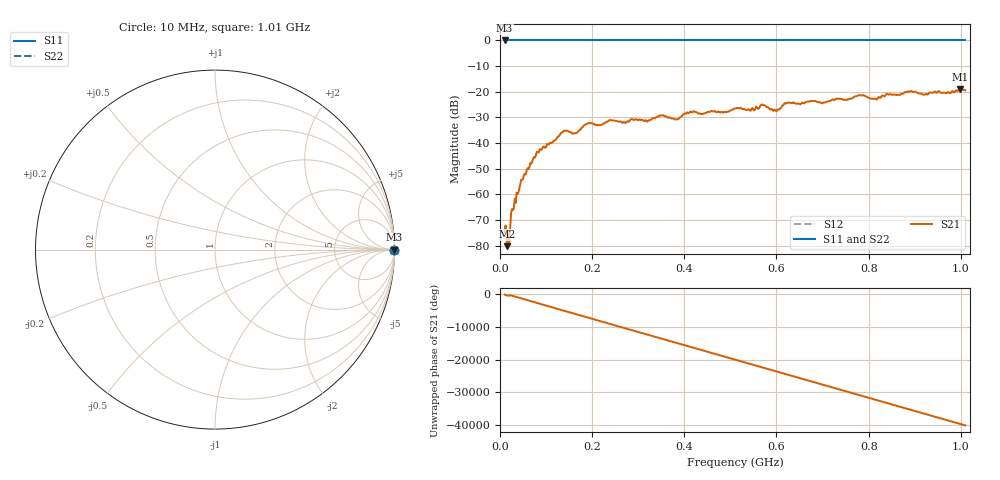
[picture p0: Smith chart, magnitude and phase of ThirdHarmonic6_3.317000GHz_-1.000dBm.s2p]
! 8/17/2025 10:23:06 AM
! C:\ANRITSUVNA\TEMP\TEMP.S2P
! CHANNEL.1
! TR.MEASUREMENT
! RAW.DATA
! RF.CORRECTION.OFF
! AVERAGING.OFF
! IF.BANDWIDTH: 5KHZ
! SWEEPTYPE:  FREQ.SWEEP(Linear)
! Reference Plane Port Info
! PORT:  PORT1  PORT2
! DISTANCE:  0  m  0  m
! TIME:  0  s  0  s
! PHASE.OFFSET:  0  deg.  0  deg.
! LOSS:  0  dB  0  dB
! REF.LOSS:  0  dB  0  dB
! REF.FREQ:  0  Hz  0  Hz
! Power Info
! POWER:  -20  dBm  -20  dBm
! EFF.POWER:  -20  dBm  -20  dBm
! SOURCE.ATTEN:  0  dB  0  dB
! TEST.ATTEN:  0  dB  0  dB
# GHZ S RI R 50.0
! FREQ.GHZ  S11RE  S11IM  S21RE  S21IM  S12RE  S12IM  S22RE  S22IM
!; PortSelection: Port_12
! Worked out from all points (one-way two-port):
!   501 points, 10 MHz to 1.01 GHz, reference 50 ohm
!   highest |S21| = -18.87 dB at 998 MHz (marker M1); lowest = -80.2 dB at 16 MHz (marker M2)
!   lowest |S11| = 0.0 dB at 10 MHz (marker M3)
!   |S11| at or under -10 dB: nowhere
!   |S22| runs from 0.0 to 0.0 dB; largest |S21 - S12| = 1.1
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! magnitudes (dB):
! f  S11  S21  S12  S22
! 10 MHz  0.0  -74.8  0.0  0.0
! 16 MHz  0.0  -80.2  0.0  0.0
! 18 MHz  0.0  -76.2  0.0  0.0
! 28 MHz  0.0  -66.2  0.0  0.0
! 40 MHz  0.0  -59.2  0.0  0.0
! 76 MHz  0.0  -45.6  0.0  0.0
! 136 MHz  0.0  -35.7  0.0  0.0
! 162 MHz  0.0  -36.2  0.0  0.0
! 178 MHz  0.0  -34.0  0.0  0.0
! 344 MHz  0.0  -29.7  0.0  0.0
! 384 MHz  0.0  -30.7  0.0  0.0
! 416 MHz  0.0  -28.0  0.0  0.0
! 510 MHz  0.0  -26.5  0.0  0.0
! 570 MHz  0.0  -25.0  0.0  0.0
! 596 MHz  0.0  -26.9  0.0  0.0
! 622 MHz  0.0  -24.4  0.0  0.0
! 678 MHz  0.0  -23.7  0.0  0.0
! 782 MHz  0.0  -21.4  0.0  0.0
! 814 MHz  0.0  -22.7  0.0  0.0
! 844 MHz  0.0  -21.1  0.0  0.0
! 998 MHz  0.0  -18.9  0.0  0.0
! 1.01 GHz  0.0  -19.4  0.0  0.0
